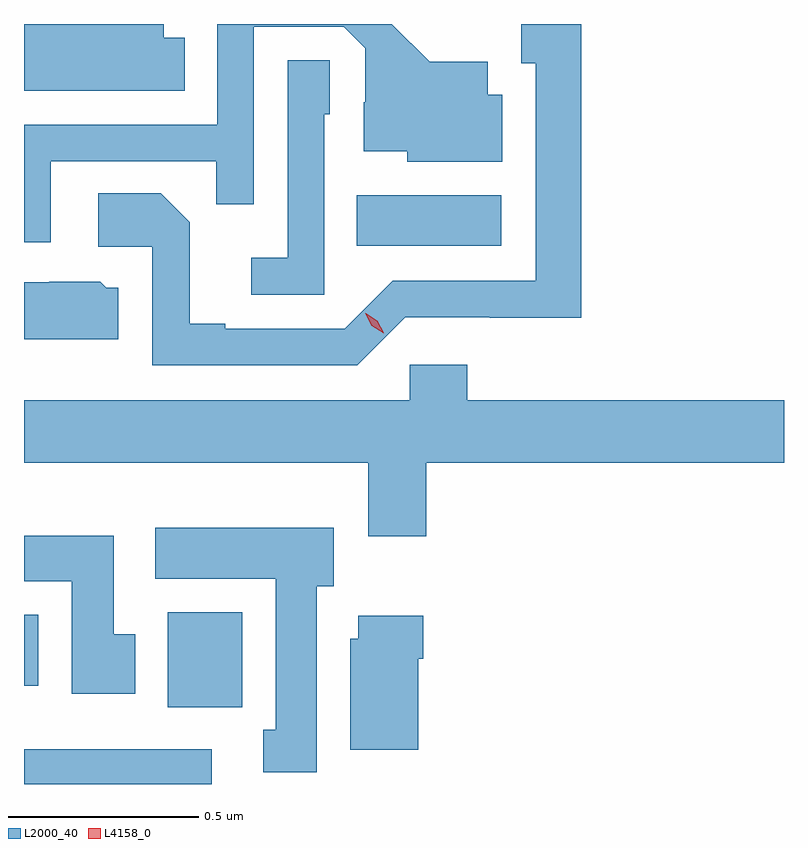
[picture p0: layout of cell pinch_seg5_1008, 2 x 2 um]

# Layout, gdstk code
import gdstk
lib = gdstk.Library(unit=1e-6, precision=1e-09)
def R(c, l, rs):  # rectangles x0, y0, x1, y1
    for r in rs: c.add(gdstk.rectangle(r[:2], r[2:], *l))
def P(c, l, *ps):  # polygons
    for p in ps: c.add(gdstk.Polygon(p, *l))
L2000_40 = (2000, 40)
L4158_0 = (4158, 0)

pinch_seg5_1008 = lib.new_cell('pinch_seg5_1008')
R(pinch_seg5_1008, L2000_40, [(707.477,906.53,707.971,906.622), (707.855,906.732,708.051,906.982), (707.477,906.788,707.515,906.976), (708.352,907.946,708.733,908.08)])
P(pinch_seg5_1008, L2000_40, [(707.547,908.169),(707.983,908.169),(707.983,908.056),(708.081,908.056),(708.081,908.523),(708.318,908.523),(708.375,908.466),(708.375,908.324),(708.371,908.324),(708.371,908.195),(708.486,908.195),(708.486,908.168),(708.736,908.168),(708.736,908.344),(708.697,908.344),(708.697,908.431),(708.545,908.431),(708.445,908.53),(707.985,908.53),(707.985,908.265),(707.477,908.265),(707.477,907.956),(707.547,907.956)],
  [(708.48,907.758),(708.702,907.758),(708.702,907.757),(708.943,907.757),(708.943,908.53),(708.785,908.53),(708.785,908.427),(708.824,908.427),(708.824,907.854),(708.447,907.854),(708.321,907.728),(708.007,907.728),(708.007,907.741),(707.913,907.741),(707.913,908.008),(707.837,908.084),(707.673,908.084),(707.673,907.944),(707.814,907.944),(707.814,907.632),(708.354,907.632)],
  [(707.9,908.494),(707.845,908.494),(707.845,908.53),(707.477,908.53),(707.477,908.354),(707.9,908.354)],
  [(708.267,908.292),(708.282,908.292),(708.282,908.435),(708.171,908.435),(708.171,907.915),(708.075,907.915),(708.075,907.818),(708.267,907.818)],
  [(707.725,907.836),(707.694,907.836),(707.678,907.852),(707.544,907.852),(707.544,907.851),(707.477,907.851),(707.477,907.7),(707.725,907.7)],
  [(708.536,907.376),(709.477,907.376),(709.477,907.54),(708.644,907.54),(708.644,907.633),(708.492,907.633),(708.492,907.54),(707.477,907.54),(707.477,907.376),(708.383,907.376),(708.383,907.182),(708.536,907.182)],
  [(708.247,907.05),(708.292,907.05),(708.292,907.204),(707.823,907.204),(707.823,907.07),(708.14,907.07),(708.14,906.673),(708.107,906.673),(708.107,906.561),(708.247,906.561)],
  [(707.77,906.924),(707.713,906.924),(707.713,907.183),(707.477,907.183),(707.477,907.064),(707.603,907.064),(707.603,906.768),(707.77,906.768)],
  [(708.514,906.86),(708.527,906.86),(708.527,906.973),(708.356,906.973),(708.356,906.912),(708.335,906.912),(708.335,906.62),(708.514,906.62)])
P(pinch_seg5_1008, L4158_0, [(708.424,907.716),(708.392,907.736),(708.375,907.769),(708.375,907.769),(708.376,907.769),(708.407,907.749),(708.424,907.717),(708.424,907.716)])

lib.write_gds('pinch_seg5_1008.gds')
